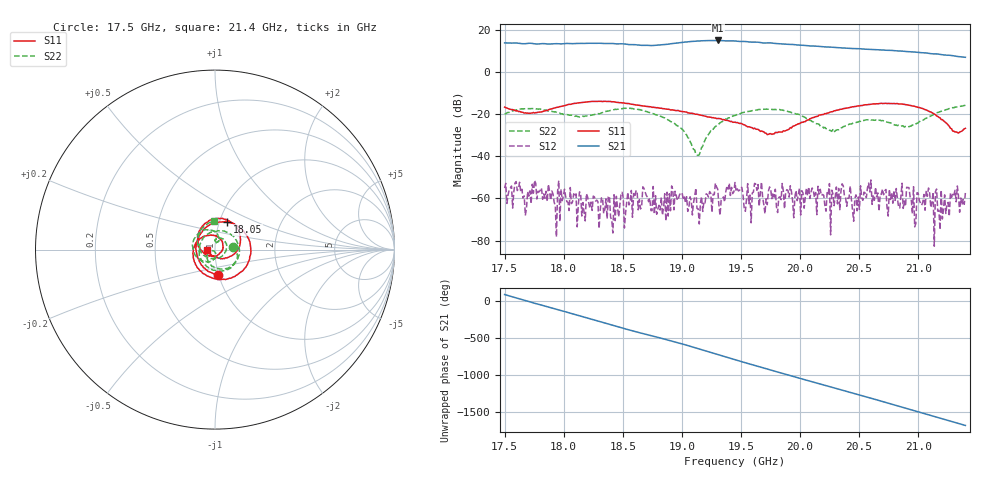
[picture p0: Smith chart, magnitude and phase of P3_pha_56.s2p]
!Created with skrf (http://scikit-rf.org).
# GHz S RI R 50.0
!freq ReS11 ImS11 ReS21 ImS21 ReS12 ImS12 ReS22 ImS22
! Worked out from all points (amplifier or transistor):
!   401 points, 17.5 GHz to 21.4 GHz, reference 50 ohm
!   highest |S21| = 14.8 dB at 19.3 GHz (marker M1)
!   |S21| within 3 dB of that: start of sweep to 20.2 GHz
!   unconditionally stable (mu >= 1): start of sweep to end of sweep
!   at 18.14 GHz: K = 75.70, MAG = 13.6 dB, |S12| = -57.4 dB
!   at 19.45 GHz: K = 38.52, MAG = 14.7 dB, |S12| = -52.4 dB
!   at 21.4 GHz: K = 163.15, MAG = 7.0 dB, |S12| = -57.4 dB
!   S11 on the Smith chart (normalised r, x): 17.5 GHz: 1.00, -0.29; 18.05 GHz: 1.09, +0.35; 21.4 GHz: 0.91, -0.00
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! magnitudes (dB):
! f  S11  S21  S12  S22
! 17.5 GHz  -16.8  13.7  -55.1  -20.1
! 18.05 GHz  -15.4  13.4  -65.7  -20.6
! 18.15 GHz  -14.5  13.5  -68.3  -21.0
! 18.42 GHz  -14.2  13.4  -76.4  -18.1
! 18.69 GHz  -16.3  12.6  -57.0  -18.7
! 18.81 GHz  -17.1  12.7  -63.2  -20.9
! 18.93 GHz  -18.2  13.5  -65.4  -24.4
! 19.14 GHz  -20.2  14.6  -64.9  -39.6
! 19.3 GHz  -22.1  14.8  -55.6  -25.2
! 19.45 GHz  -23.9  14.6  -52.4  -20.7
! 19.74 GHz  -29.3  13.7  -54.5  -17.7
! 20.1 GHz  -21.8  12.2  -55.1  -23.6
! 20.28 GHz  -18.9  11.6  -57.8  -27.4
! 20.37 GHz  -17.5  11.3  -54.1  -26.0
! 20.46 GHz  -16.4  11.0  -60.1  -24.1
! 20.58 GHz  -15.5  10.7  -52.7  -22.7
! 20.76 GHz  -15.0  10.2  -55.6  -24.0
! 20.92 GHz  -15.8  9.5  -54.8  -26.0
! 20.96 GHz  -16.2  9.4  -54.4  -25.3
! 21.09 GHz  -18.6  8.7  -55.1  -21.4
! 21.19 GHz  -21.8  8.2  -74.8  -18.9
! 21.4 GHz  -26.8  6.9  -57.4  -15.9
